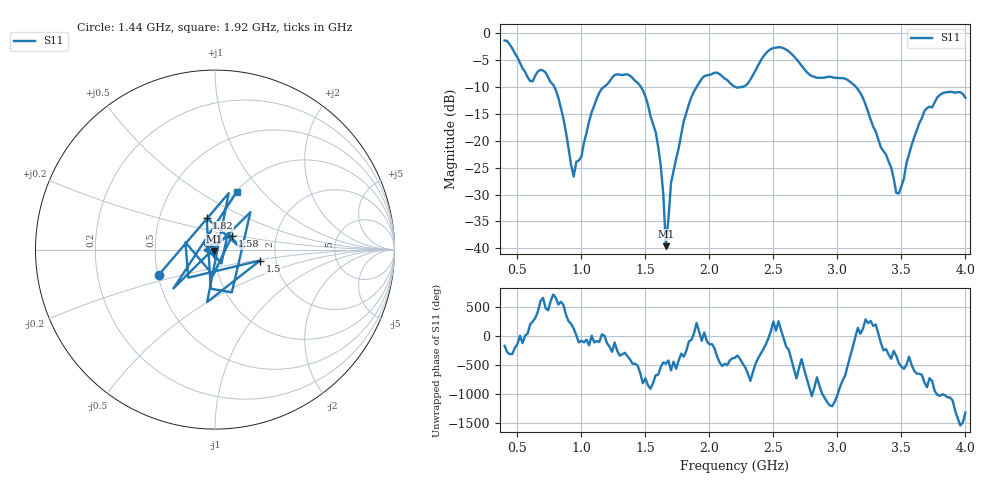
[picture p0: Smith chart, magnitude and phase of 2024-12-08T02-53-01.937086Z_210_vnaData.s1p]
!Created with skrf (http://scikit-rf.org).
# Hz S RI R 50.0
!freq ReS11 ImS11
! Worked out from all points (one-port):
!   181 points, 400 MHz to 4 GHz, reference 50 ohm
!   lowest |S11| = -39.6 dB at 1.66 GHz (marker M1), VSWR 1.02, Z = 49.4 - j0.879 ohm
!   |S11| at or under -10 dB: 788.6 MHz to 1.176 GHz (387.2 MHz wide, 39.4 % of centre); 1.465 GHz to 1.9 GHz (434.5 MHz wide, 25.8 % of centre); 3.145 GHz to end of sweep (the widest 3 of 4)
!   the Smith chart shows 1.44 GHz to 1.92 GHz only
!   S11 on the Smith chart (normalised r, x): 1.44 GHz: 0.50, -0.16; 1.5 GHz: 1.65, -0.22; 1.58 GHz: 1.19, +0.18; 1.82 GHz: 0.86, +0.31; 1.92 GHz: 1.01, +0.74
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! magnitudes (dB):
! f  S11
! 400 MHz  -1.4
! 600 MHz  -8.9
! 720 MHz  -7.3
! 860 MHz  -15.9
! 940 MHz  -26.7
! 1.14 GHz  -11.1
! 1.3 GHz  -7.7
! 1.44 GHz  -9.2
! 1.5 GHz  -11.8
! 1.58 GHz  -18.4
! 1.62 GHz  -24.7
! 1.66 GHz  -39.6
! 1.7 GHz  -27.9
! 1.76 GHz  -21.4
! 1.82 GHz  -14.8
! 1.92 GHz  -9.2
! 2.06 GHz  -7.4
! 2.2 GHz  -10.0
! 2.48 GHz  -3.0
! 2.66 GHz  -4.3
! 2.8 GHz  -8.0
! 3.1 GHz  -9.1
! 3.2 GHz  -12.1
! 3.46 GHz  -29.7
! 3.56 GHz  -22.5
! 3.68 GHz  -14.5
! 3.78 GHz  -11.9
! 4 GHz  -12.0
